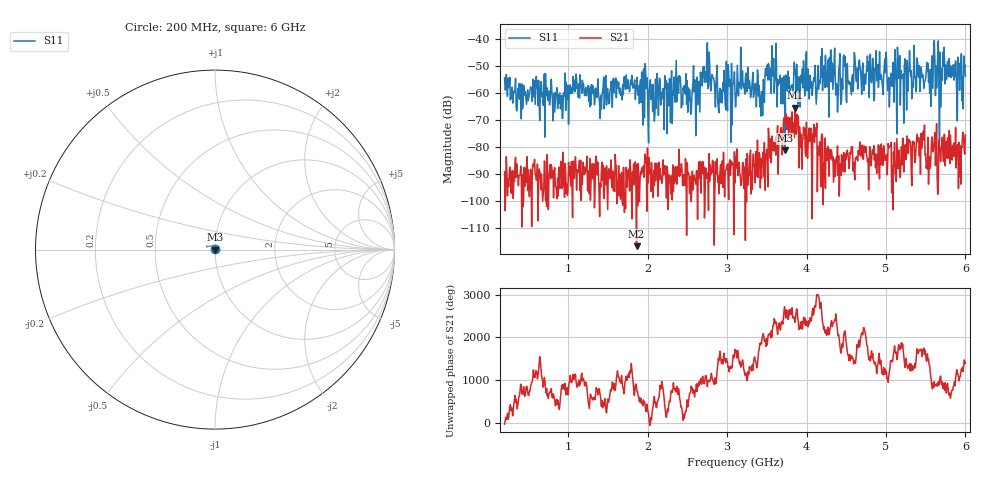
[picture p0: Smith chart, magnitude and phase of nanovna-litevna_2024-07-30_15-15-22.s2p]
! NanoVNA-App by OneOfEleven et al v1.1.209 (+OD15)
! Date: 2024-07-30 15:15:25
! Start: 200MHz Stop: 6GHz Points: 801
! S-Parameter data: F S11 S21 S12 S22
# Hz S RI R 50
!  Frequency  S11_Real  S11_Imag  S21_Real  S21_Imag  S12_Real  S12_Imag  S22_Real  S22_Imag
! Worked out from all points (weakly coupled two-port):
!   801 points, 200 MHz to 6 GHz, reference 50 ohm
!   highest |S21| = -65.41 dB at 3.854 GHz (marker M1); lowest = -116.9 dB at 1.86 GHz (marker M2)
!   lowest |S11| = -81.3 dB at 3.731 GHz (marker M3), VSWR 1.00, Z = 50 + j0.00809 ohm
!   |S11| at or under -10 dB: start of sweep to end of sweep
!   S12 and S22 are empty: the file has one direction only
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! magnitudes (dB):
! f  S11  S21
! 200 MHz  -54.3  -89.2
! 903.2 MHz  -65.8  -87.4
! 1.171 GHz  -60.0  -89.7
! 1.86 GHz  -58.3  -116.9
! 2.136 GHz  -68.3  -93.0
! 2.534 GHz  -60.6  -94.1
! 2.752 GHz  -41.2  -89.7
! 2.912 GHz  -58.2  -89.0
! 3.1 GHz  -60.2  -93.4
! 3.441 GHz  -60.9  -85.3
! 3.593 GHz  -59.9  -81.5
! 3.731 GHz  -81.3  -70.4
! 3.854 GHz  -52.8  -65.4
! 4.072 GHz  -60.8  -106.7
! 4.332 GHz  -58.6  -83.6
! 4.412 GHz  -50.3  -98.3
! 4.63 GHz  -55.7  -83.6
! 5.036 GHz  -54.1  -80.3
! 5.565 GHz  -64.9  -84.2
! 5.63 GHz  -49.9  -80.5
! 5.696 GHz  -54.6  -80.6
! 6 GHz  -53.7  -75.5
